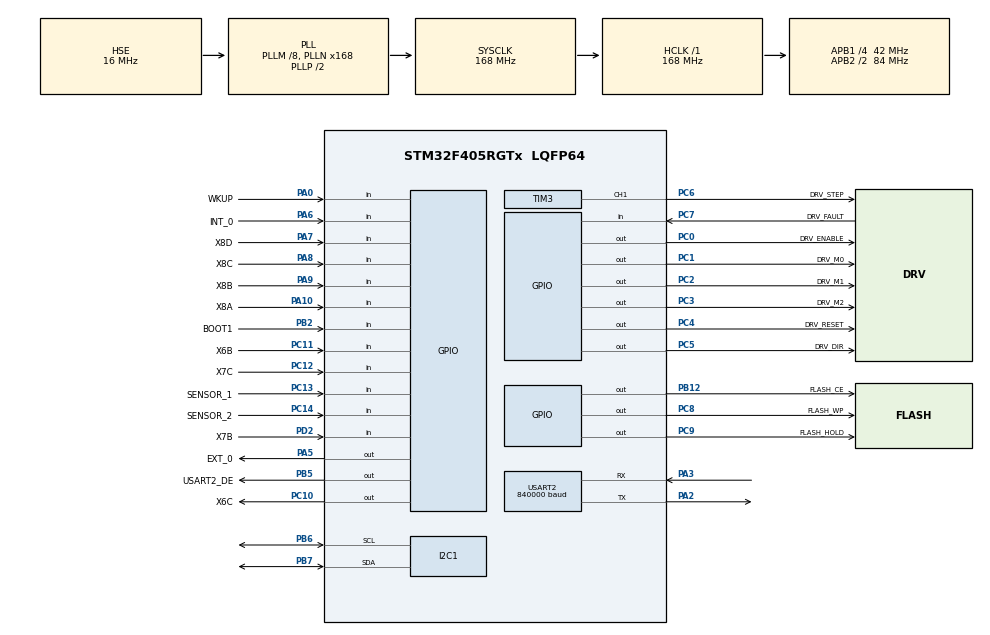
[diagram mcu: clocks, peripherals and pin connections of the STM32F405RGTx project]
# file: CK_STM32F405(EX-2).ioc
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Mcu.Family=STM32F4
Mcu.Name=STM32F405RGTx
Mcu.Package=LQFP64
NVIC.PriorityGroup=NVIC_PRIORITYGROUP_4
NVIC.TIM2_IRQn=true\:4\:0\:true\:false\:true\:true\:true
NVIC.TIM3_IRQn=true\:4\:0\:true\:false\:true\:true\:true
NVIC.TIM5_IRQn=true\:3\:0\:true\:false\:true\:true\:true
NVIC.USART2_IRQn=true\:0\:0\:false\:false\:true\:true\:true
PA0-WKUP.GPIO_Label=WKUP
PA0-WKUP.Signal=GPIO_Input
PA10.GPIO_Label=X8A
PA10.Signal=GPIO_Input
PA13.Mode=Serial_Wire
PA13.Signal=SYS_JTMS-SWDIO
PA14.Mode=Serial_Wire
PA14.Signal=SYS_JTCK-SWCLK
PA2.Mode=Asynchronous
PA2.Signal=USART2_TX
PA3.Mode=Asynchronous
PA3.Signal=USART2_RX
PA5.GPIO_Label=EXT_0
PA5.Signal=GPIO_Output
PA6.GPIO_Label=INT_0
PA6.Signal=GPIO_Input
PA7.GPIO_Label=X8D
PA7.Signal=GPIO_Input
PA8.GPIO_Label=X8C
PA8.Signal=GPIO_Input
PA9.GPIO_Label=X8B
PA9.Signal=GPIO_Input
PB12.GPIO_Label=FLASH_CE
PB12.Signal=GPIO_Output
PB13.GPIO_Label=FLASH_SCK
PB13.Signal=SPI2_SCK
PB14.GPIO_Label=FLASH_SO
PB14.Signal=SPI2_MISO
PB15.GPIO_Label=FLASH_SI
PB15.Signal=SPI2_MOSI
PB2.GPIO_Label=BOOT1
PB2.Signal=GPIO_Input
PB5.GPIO_Label=USART2_DE
PB5.Signal=GPIO_Output
PB6.Mode=I2C
PB6.Signal=I2C1_SCL
PB7.Mode=I2C
PB7.Signal=I2C1_SDA
PC0.GPIO_Label=DRV_ENABLE
PC0.Signal=GPIO_Output
PC1.GPIO_Label=DRV_M0
PC1.Signal=GPIO_Output
PC10.GPIO_Label=X6C
PC10.Signal=GPIO_Output
PC11.GPIO_Label=X6B
PC11.Signal=GPIO_Input
PC12.GPIO_Label=X7C
PC12.Signal=GPIO_Input
PC13-ANTI_TAMP.GPIO_Label=SENSOR_1
PC13-ANTI_TAMP.Signal=GPIO_Input
PC14-OSC32_IN.GPIO_Label=SENSOR_2
PC14-OSC32_IN.Signal=GPIO_Input
PC2.GPIO_Label=DRV_M1
PC2.Signal=GPIO_Output
PC3.GPIO_Label=DRV_M2
PC3.Signal=GPIO_Output
PC4.GPIO_Label=DRV_RESET
PC4.Signal=GPIO_Output
PC5.GPIO_Label=DRV_DIR
PC5.Signal=GPIO_Output
PC6.GPIO_Label=DRV_STEP
PC6.Signal=S_TIM3_CH1
PC7.GPIO_Label=DRV_FAULT
PC7.Signal=GPIO_Input
PC8.GPIO_Label=FLASH_WP
PC8.Signal=GPIO_Output
PC9.GPIO_Label=FLASH_HOLD
PC9.Signal=GPIO_Output
PD2.GPIO_Label=X7B
PD2.Signal=GPIO_Input
PH0-OSC_IN.Mode=HSE-External-Oscillator
PH0-OSC_IN.Signal=RCC_OSC_IN
PH1-OSC_OUT.Mode=HSE-External-Oscillator
PH1-OSC_OUT.Signal=RCC_OSC_OUT
ProjectManager.HeapSize=0x1000
ProjectManager.StackSize=0x1000
ProjectManager.TargetToolchain=EWARM V8
RCC.48MHZClocksFreq_Value=84000000
RCC.AHBFreq_Value=168000000
RCC.APB1CLKDivider=RCC_HCLK_DIV4
RCC.APB1Freq_Value=42000000
RCC.APB1TimFreq_Value=84000000
RCC.APB2CLKDivider=RCC_HCLK_DIV2
RCC.APB2Freq_Value=84000000
RCC.APB2TimFreq_Value=168000000
RCC.CortexFreq_Value=168000000
RCC.HCLKFreq_Value=168000000
RCC.HSE_VALUE=16000000
RCC.HSI_VALUE=16000000
RCC.LSE_VALUE=32768
RCC.PLLM=8
RCC.PLLN=168
RCC.PLLSourceVirtual=RCC_PLLSOURCE_HSE
RCC.SYSCLKFreq_VALUE=168000000
RCC.SYSCLKSource=RCC_SYSCLKSOURCE_PLLCLK
RCC.VCOOutputFreq_Value=336000000
SH.S_TIM3_CH1.0=TIM3_CH1,PWM Generation1 CH1
TIM2.Period=999999
TIM2.Prescaler=0
TIM2.TIM_MasterOutputTrigger=TIM_TRGO_UPDATE
TIM3.Channel-PWM\ Generation1\ CH1=TIM_CHANNEL_1
TIM3.OCPolarity_1=TIM_OCPOLARITY_LOW
TIM3.Period=99
TIM3.Prescaler=83
TIM3.Pulse-PWM\ Generation1\ CH1=9
TIM3.TIM_MasterOutputTrigger=TIM_TRGO_UPDATE
TIM5.Period=999999
TIM5.Prescaler=0
TIM5.TIM_MasterOutputTrigger=TIM_TRGO_UPDATE
USART2.BaudRate=840000
USART2.VirtualMode=VM_ASYNC
VP_TIM2_VS_ClockSourceINT.Mode=Internal
VP_TIM3_VS_ClockSourceINT.Mode=Internal
VP_TIM3_VS_OPM.Mode=OPM_bit
VP_TIM5_VS_ClockSourceINT.Mode=Internal
board=custom

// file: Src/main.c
/**
  ******************************************************************************
  * @file           : main.c
  * @brief          : Main program body
  ******************************************************************************
  ** This notice applies to any and all portions of this file
  * that are not between comment pairs USER CODE BEGIN and
  * USER CODE END. Other portions of this file, whether
  * inserted by the user or by software development tools
  * are owned by their respective copyright owners.
  *
  * COPYRIGHT(c) 2021 STMicroelectronics
  *
  * Redistribution and use in source and binary forms, with or without modification,
  * are permitted provided that the following conditions are met:
  *   1. Redistributions of source code must retain the above copyright notice,
  *      this list of conditions and the following disclaimer.
  *   2. Redistributions in binary form must reproduce the above copyright notice,
  *      this list of conditions and the following disclaimer in the documentation
  *      and/or other materials provided with the distribution.
  *   3. Neither the name of STMicroelectronics nor the names of its contributors
  *      may be used to endorse or promote products derived from this software
  *      without specific prior written permission.
  *
  * THIS SOFTWARE IS PROVIDED BY THE COPYRIGHT HOLDERS AND CONTRIBUTORS "AS IS"
  * AND ANY EXPRESS OR IMPLIED WARRANTIES, INCLUDING, BUT NOT LIMITED TO, THE
  * IMPLIED WARRANTIES OF MERCHANTABILITY AND FITNESS FOR A PARTICULAR PURPOSE ARE
  * DISCLAIMED. IN NO EVENT SHALL THE COPYRIGHT HOLDER OR CONTRIBUTORS BE LIABLE
  * FOR ANY DIRECT, INDIRECT, INCIDENTAL, SPECIAL, EXEMPLARY, OR CONSEQUENTIAL
  * DAMAGES (INCLUDING, BUT NOT LIMITED TO, PROCUREMENT OF SUBSTITUTE GOODS OR
  * SERVICES; LOSS OF USE, DATA, OR PROFITS; OR BUSINESS INTERRUPTION) HOWEVER
  * CAUSED AND ON ANY THEORY OF LIABILITY, WHETHER IN CONTRACT, STRICT LIABILITY,
  * OR TORT (INCLUDING NEGLIGENCE OR OTHERWISE) ARISING IN ANY WAY OUT OF THE USE
  * OF THIS SOFTWARE, EVEN IF ADVISED OF THE POSSIBILITY OF SUCH DAMAGE.
  *
  ******************************************************************************
  */
#include "main.h"
#include "stm32f4xx_hal.h"
#include "i2c.h"
#include "tim.h"
#include "usart.h"
#include "gpio.h"

/* USER CODE BEGIN Includes */
#include "CK.h"
#include "Usart2.h"
#include "CK_Ports.h"
#include "xTimer.h"
#include "Bootloader.h"
#include "xMacroces.h"
/* USER CODE END Includes */

/* USER CODE BEGIN PV */
/* Private variables ---------------------------------------------------------*/

/* USER CODE END PV */

void SystemClock_Config(void);

/* USER CODE BEGIN PFP */
/* Private function prototypes -----------------------------------------------*/

/* USER CODE END PFP */

/* USER CODE BEGIN 0 */
volatile I2C_RegT *I2C_Reg = (I2C_RegT*)I2C1;

/* USER CODE END 0 */

int main(void)
{
  /* USER CODE BEGIN 1 */
  Bootloader_MoveVector(APP_START_ADDRESS);
  Bootloader_TryUpdateInfo((xObject)main);
  /* USER CODE END 1 */

  /* MCU Configuration----------------------------------------------------------*/

  /* Reset of all peripherals, Initializes the Flash interface and the Systick. */
  HAL_Init();

  /* Configure the system clock */
  SystemClock_Config();

  /* Initialize all configured peripherals */
  MX_GPIO_Init();
  MX_I2C1_Init();
  MX_USART2_UART_Init();
  MX_TIM5_Init();
  MX_TIM2_Init();
  MX_TIM3_Init();
  /* USER CODE BEGIN 2 */
  PATTERN_TIMER_INIT();

  Usart2_Init();
  CK_Init();

  Ports.A.Out->Value;
  Ports.B.Out->Value;
  Ports.C.Out->Value;
  Ports.D.Out->Value;

  xTimer2->DIER.UpdateInterruptEnable = true;

  TIM_CCxChannelCmd(TIM3, TIM_CHANNEL_1, TIM_CCx_ENABLE);
  xTimer3->DIER.Compare1InterruptEnable = true;
  xTimer3->CR1.OnePulseMode = true;

  Usart2.Reg->SR;
  I2C_Reg->SR1;
  I2C_Reg->SR2;

  CK_SetMotorCurrent(400);
  /* USER CODE END 2 */

  /* Infinite loop */
  /* USER CODE BEGIN WHILE */
  while (1)
  {
    CK_Thread();

    Usart2_RxTxHandler();

    if(Timer.Events.Time1ms)
    {
      Timer.Events.Time1ms = false;
      CK.MotorState.Handler.UpdateState = true;

      if(!Usart2.Reg->CR1.TxEmptyInterruptEnable)
      {
        Bootloader_Handler();
      }
    }

    if(Timer.Events.Time100ms)
    {
      Timer.Events.Time100ms = false;
      CK.MotorState.Handler.UpdateReducedHeight = true;
    }
  /* USER CODE END WHILE */

  }

}

void SystemClock_Config(void)
{

  RCC_OscInitTypeDef RCC_OscInitStruct;
  RCC_ClkInitTypeDef RCC_ClkInitStruct;

    /**Configure the main internal regulator output voltage
    */
  __HAL_RCC_PWR_CLK_ENABLE();

  __HAL_PWR_VOLTAGESCALING_CONFIG(PWR_REGULATOR_VOLTAGE_SCALE1);

    /**Initializes the CPU, AHB and APB busses clocks
    */
  RCC_OscInitStruct.OscillatorType = RCC_OSCILLATORTYPE_HSE;
  RCC_OscInitStruct.HSEState = RCC_HSE_ON;
  RCC_OscInitStruct.PLL.PLLState = RCC_PLL_ON;
  RCC_OscInitStruct.PLL.PLLSource = RCC_PLLSOURCE_HSE;
  RCC_OscInitStruct.PLL.PLLM = 8;
  RCC_OscInitStruct.PLL.PLLN = 168;
  RCC_OscInitStruct.PLL.PLLP = RCC_PLLP_DIV2;
  RCC_OscInitStruct.PLL.PLLQ = 4;
  if (HAL_RCC_OscConfig(&RCC_OscInitStruct) != HAL_OK)
  {
    _Error_Handler(__FILE__, __LINE__);
  }

    /**Initializes the CPU, AHB and APB busses clocks
    */
  RCC_ClkInitStruct.ClockType = RCC_CLOCKTYPE_HCLK|RCC_CLOCKTYPE_SYSCLK
                              |RCC_CLOCKTYPE_PCLK1|RCC_CLOCKTYPE_PCLK2;
  RCC_ClkInitStruct.SYSCLKSource = RCC_SYSCLKSOURCE_PLLCLK;
  RCC_ClkInitStruct.AHBCLKDivider = RCC_SYSCLK_DIV1;
  RCC_ClkInitStruct.APB1CLKDivider = RCC_HCLK_DIV4;
  RCC_ClkInitStruct.APB2CLKDivider = RCC_HCLK_DIV2;

  if (HAL_RCC_ClockConfig(&RCC_ClkInitStruct, FLASH_LATENCY_5) != HAL_OK)
  {
    _Error_Handler(__FILE__, __LINE__);
  }

    /**Configure the Systick interrupt time
    */
  HAL_SYSTICK_Config(HAL_RCC_GetHCLKFreq()/1000);

    /**Configure the Systick
    */
  HAL_SYSTICK_CLKSourceConfig(SYSTICK_CLKSOURCE_HCLK);

  /* SysTick_IRQn interrupt configuration */
  HAL_NVIC_SetPriority(SysTick_IRQn, 2, 0);
}

void _Error_Handler(char *file, int line)
{
  while(1)
  {
  }
}

/************************ (C) COPYRIGHT STMicroelectronics *****END OF FILE****/
